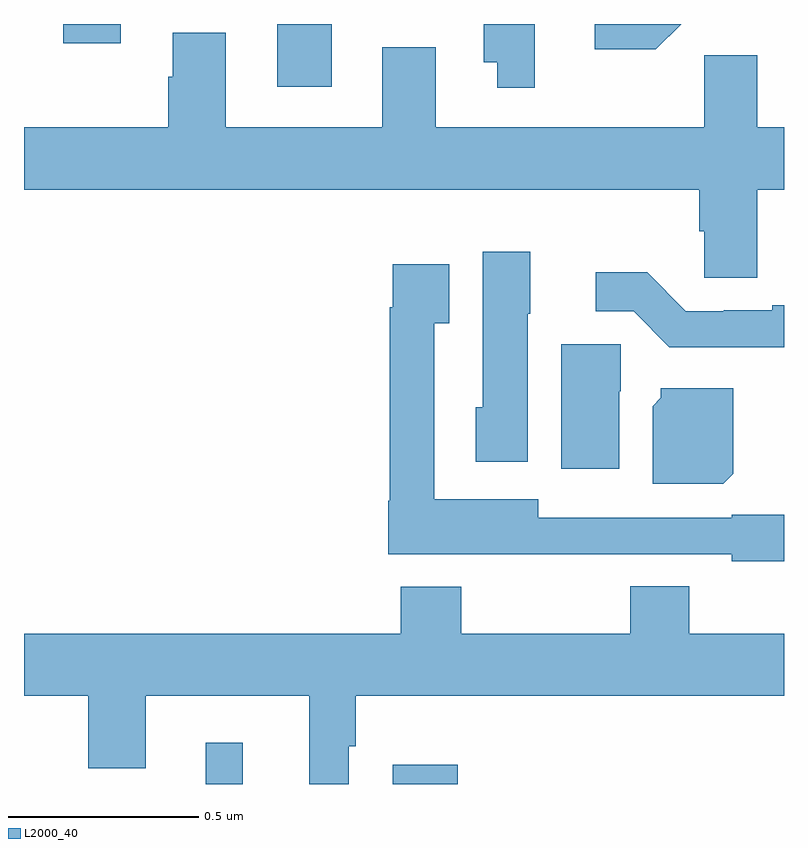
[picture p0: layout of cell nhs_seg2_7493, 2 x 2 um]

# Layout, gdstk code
import gdstk
lib = gdstk.Library(unit=1e-6, precision=1e-09)
def R(c, l, rs):  # rectangles x0, y0, x1, y1
    for r in rs: c.add(gdstk.rectangle(r[:2], r[2:], *l))
def P(c, l, *ps):  # polygons
    for p in ps: c.add(gdstk.Polygon(p, *l))
L2000_40 = (2000, 40)

nhs_seg2_7493 = lib.new_cell('nhs_seg2_7493')
R(nhs_seg2_7493, L2000_40, [(205.478,584.8,205.576,584.908), (205.97,584.8,206.141,584.851), (205.667,586.635,205.81,586.8), (205.103,586.749,205.255,586.8)])
P(nhs_seg2_7493, L2000_40, [(206.73,586.8),(206.502,586.8),(206.502,586.733),(206.663,586.733)],
  [(206.344,586.8),(206.21,586.8),(206.21,586.7),(206.246,586.7),(206.246,586.632),(206.344,586.632)],
  [(206.929,586.364),(207,586.364),(207,586.528),(206.929,586.528),(206.929,586.718),(206.79,586.718),(206.79,586.528),(206.083,586.528),(206.083,586.739),(205.943,586.739),(205.943,586.528),(205.531,586.528),(205.531,586.777),(205.391,586.777),(205.391,586.661),(205.379,586.661),(205.379,586.528),(205,586.528),(205,586.364),(206.777,586.364),(206.777,586.254),(206.79,586.254),(206.79,586.132),(206.929,586.132)],
  [(206.326,586.038),(206.332,586.038),(206.332,586.201),(206.207,586.201),(206.207,585.792),(206.189,585.792),(206.189,585.648),(206.326,585.648)],
  [(207,585.508),(206.862,585.508),(206.862,585.501),(206.353,585.501),(206.353,585.55),(206.079,585.55),(206.079,586.012),(206.119,586.012),(206.119,586.168),(205.971,586.168),(205.971,586.055),(205.963,586.055),(205.963,585.546),(205.958,585.546),(205.958,585.404),(206.345,585.404),(206.345,585.405),(206.862,585.405),(206.862,585.386),(207,585.386)],
  [(207,586.06),(206.969,586.06),(206.969,586.047),(206.842,586.047),(206.842,586.044),(206.742,586.044),(206.64,586.147),(206.505,586.147),(206.505,586.044),(206.604,586.044),(206.698,585.95),(207,585.95)],
  [(206.566,585.834),(206.57,585.834),(206.57,585.957),(206.414,585.957),(206.414,585.63),(206.566,585.63)],
  [(206.866,585.616),(206.866,585.841),(206.676,585.841),(206.676,585.816),(206.654,585.794),(206.654,585.59),(206.84,585.59)],
  [(205.855,584.9),(205.873,584.9),(205.873,585.032),(207,585.032),(207,585.196),(206.751,585.196),(206.751,585.32),(206.596,585.32),(206.596,585.196),(206.151,585.196),(206.151,585.319),(205.991,585.319),(205.991,585.196),(205,585.196),(205,585.032),(205.169,585.032),(205.169,584.842),(205.321,584.842),(205.321,585.032),(205.751,585.032),(205.751,584.8),(205.855,584.8)])

lib.write_gds('nhs_seg2_7493.gds')
